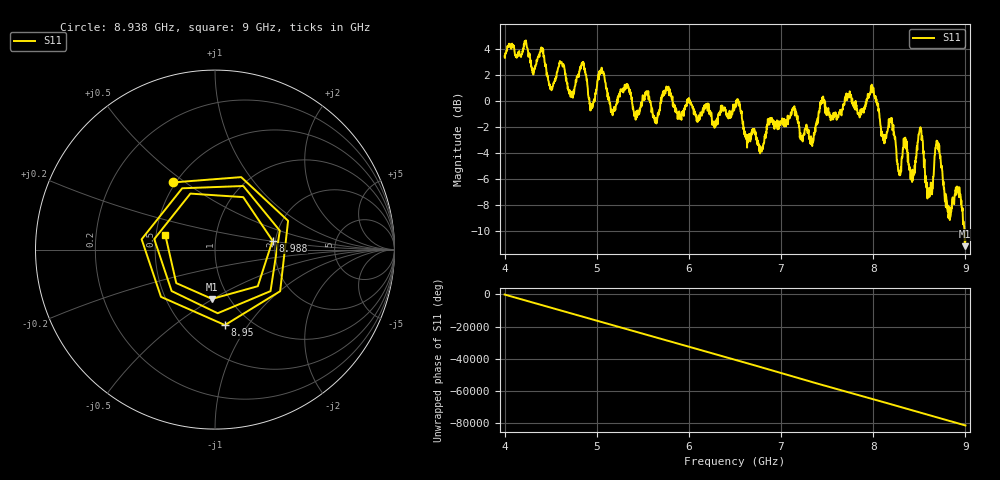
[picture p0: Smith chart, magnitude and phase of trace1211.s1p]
! Created with skrf 1.8.0 (http://scikit-rf.org).
# Hz S RI R 50.0
!freq ReS11 ImS11
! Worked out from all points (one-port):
!   1601 points, 4 GHz to 9 GHz, reference 50 ohm
!   lowest |S11| = -11.2 dB at 8.994 GHz (marker M1), VSWR 1.76, Z = 41.7 - j24.8 ohm
!   |S11| at or under -10 dB: 8.990298 GHz to end of sweep
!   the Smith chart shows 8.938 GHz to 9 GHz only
!   S11 on the Smith chart (normalised r, x): 8.938 GHz: 0.49, +0.45; 8.95 GHz: 0.77, -0.79; 8.988 GHz: 1.93, +0.22; 9 GHz: 0.56, +0.10
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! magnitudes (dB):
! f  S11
! 4 GHz  3.4
! 4.625 GHz  2.8
! 4.728 GHz  0.5
! 4.853 GHz  3.0
! 4.944 GHz  -0.6
! 5.05 GHz  2.2
! 5.172 GHz  -1.1
! 5.25 GHz  0.3
! 5.875 GHz  -0.9
! 6.5 GHz  -0.5
! 6.781 GHz  -3.9
! 7.125 GHz  -0.7
! 7.328 GHz  -3.0
! 7.447 GHz  0.3
! 7.75 GHz  0.5
! 8 GHz  1.0
! 8.278 GHz  -5.5
! 8.375 GHz  -4.7
! 8.428 GHz  -5.5
! 8.512 GHz  -2.0
! 8.612 GHz  -7.3
! 8.697 GHz  -3.1
! 8.822 GHz  -8.7
! 8.938 GHz  -7.1
! 8.95 GHz  -7.5
! 8.988 GHz  -9.8
! 8.994 GHz  -11.2
! 9 GHz  -10.8
